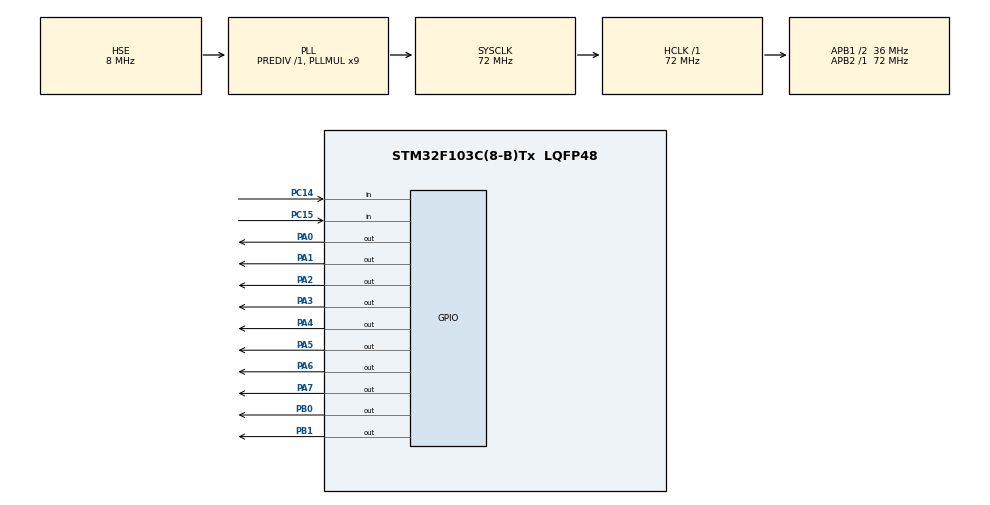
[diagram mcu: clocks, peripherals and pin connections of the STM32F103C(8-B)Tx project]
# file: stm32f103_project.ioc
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Mcu.Family=STM32F1
Mcu.Name=STM32F103C(8-B)Tx
Mcu.Package=LQFP48
NVIC.PriorityGroup=NVIC_PRIORITYGROUP_4
NVIC.TIM2_IRQn=true\:0\:0\:false\:false\:true\:true
PA0-WKUP.Signal=GPIO_Output
PA1.Signal=GPIO_Output
PA13.Mode=Serial_Wire
PA13.Signal=SYS_JTMS-SWDIO
PA14.Mode=Serial_Wire
PA14.Signal=SYS_JTCK-SWCLK
PA2.Signal=GPIO_Output
PA3.Signal=GPIO_Output
PA4.Signal=GPIO_Output
PA5.Signal=GPIO_Output
PA6.Signal=GPIO_Output
PA7.Signal=GPIO_Output
PB0.Signal=GPIO_Output
PB1.Signal=GPIO_Output
PC14-OSC32_IN.GPIO_PuPd=GPIO_PULLUP
PC14-OSC32_IN.Signal=GPIO_Input
PC15-OSC32_OUT.GPIO_PuPd=GPIO_PULLUP
PC15-OSC32_OUT.Signal=GPIO_Input
PD0-OSC_IN.Mode=HSE-External-Oscillator
PD0-OSC_IN.Signal=RCC_OSC_IN
PD1-OSC_OUT.Mode=HSE-External-Oscillator
PD1-OSC_OUT.Signal=RCC_OSC_OUT
ProjectManager.HeapSize=0x200
ProjectManager.StackSize=0x400
ProjectManager.TargetToolchain=MDK-ARM V5
RCC.AHBFreq_Value=72000000
RCC.APB1CLKDivider=RCC_HCLK_DIV2
RCC.APB1Freq_Value=36000000
RCC.APB1TimFreq_Value=72000000
RCC.APB2Freq_Value=72000000
RCC.APB2TimFreq_Value=72000000
RCC.HCLKFreq_Value=72000000
RCC.PLLMUL=RCC_PLL_MUL9
RCC.PLLSourceVirtual=RCC_PLLSOURCE_HSE
RCC.SYSCLKFreq_VALUE=72000000
RCC.SYSCLKSource=RCC_SYSCLKSOURCE_PLLCLK
RCC.USBFreq_Value=48000000
RCC.USBPrescaler=RCC_USBCLKSOURCE_PLL_DIV1_5
TIM2.AutoReloadPreload=TIM_AUTORELOAD_PRELOAD_ENABLE
TIM2.Channel-Output\ Compare1\ No\ Output=TIM_CHANNEL_1
TIM2.Period=1999
TIM2.Prescaler=179
TIM2.Pulse-Output\ Compare1\ No\ Output=999
VP_TIM2_VS_ClockSourceINT.Mode=Internal
VP_TIM2_VS_no_output1.Mode=Output Compare1 No Output
board=stm32f103_project

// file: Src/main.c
/**
  ******************************************************************************
  * File Name          : main.c
  * Description        : Main program body
  ******************************************************************************
  ** This notice applies to any and all portions of this file
  * that are not between comment pairs USER CODE BEGIN and
  * USER CODE END. Other portions of this file, whether
  * inserted by the user or by software development tools
  * are owned by their respective copyright owners.
  *
  * COPYRIGHT(c) 2018 STMicroelectronics
  *
  * Redistribution and use in source and binary forms, with or without modification,
  * are permitted provided that the following conditions are met:
  *   1. Redistributions of source code must retain the above copyright notice,
  *      this list of conditions and the following disclaimer.
  *   2. Redistributions in binary form must reproduce the above copyright notice,
  *      this list of conditions and the following disclaimer in the documentation
  *      and/or other materials provided with the distribution.
  *   3. Neither the name of STMicroelectronics nor the names of its contributors
  *      may be used to endorse or promote products derived from this software
  *      without specific prior written permission.
  *
  * THIS SOFTWARE IS PROVIDED BY THE COPYRIGHT HOLDERS AND CONTRIBUTORS "AS IS"
  * AND ANY EXPRESS OR IMPLIED WARRANTIES, INCLUDING, BUT NOT LIMITED TO, THE
  * IMPLIED WARRANTIES OF MERCHANTABILITY AND FITNESS FOR A PARTICULAR PURPOSE ARE
  * DISCLAIMED. IN NO EVENT SHALL THE COPYRIGHT HOLDER OR CONTRIBUTORS BE LIABLE
  * FOR ANY DIRECT, INDIRECT, INCIDENTAL, SPECIAL, EXEMPLARY, OR CONSEQUENTIAL
  * DAMAGES (INCLUDING, BUT NOT LIMITED TO, PROCUREMENT OF SUBSTITUTE GOODS OR
  * SERVICES; LOSS OF USE, DATA, OR PROFITS; OR BUSINESS INTERRUPTION) HOWEVER
  * CAUSED AND ON ANY THEORY OF LIABILITY, WHETHER IN CONTRACT, STRICT LIABILITY,
  * OR TORT (INCLUDING NEGLIGENCE OR OTHERWISE) ARISING IN ANY WAY OUT OF THE USE
  * OF THIS SOFTWARE, EVEN IF ADVISED OF THE POSSIBILITY OF SUCH DAMAGE.
  *
  ******************************************************************************
  */
#include "main.h"
#include "stm32f1xx_hal.h"

TIM_HandleTypeDef htim2;

/* USER CODE BEGIN PV */
/* Private variables ---------------------------------------------------------*/
uint8_t button_pressed = 0;
uint8_t button_0_scan_count = 0;

/* USER CODE END PV */

void SystemClock_Config(void);
static void MX_GPIO_Init(void);
static void MX_TIM2_Init(void);

/* USER CODE BEGIN PFP */
/* Private function prototypes -----------------------------------------------*/

/* USER CODE END PFP */

/* USER CODE BEGIN 0 */
void HAL_TIM_PeriodElapsedCallback(TIM_HandleTypeDef *htim) {
	 if (HAL_GPIO_ReadPin(GPIOC, GPIO_PIN_14) == GPIO_PIN_RESET) {
	    if (HAL_GPIO_ReadPin(GPIOB, GPIO_PIN_1) == GPIO_PIN_RESET) button_pressed = 4;
			if (HAL_GPIO_ReadPin(GPIOB, GPIO_PIN_0) == GPIO_PIN_RESET) button_pressed = 2;
			button_0_scan_count = 0;
 	 }
	 else if (HAL_GPIO_ReadPin(GPIOC, GPIO_PIN_15) == GPIO_PIN_RESET) {
		  if (HAL_GPIO_ReadPin(GPIOB, GPIO_PIN_1) == GPIO_PIN_RESET) button_pressed = 3;
			if (HAL_GPIO_ReadPin(GPIOB, GPIO_PIN_0) == GPIO_PIN_RESET) button_pressed = 1;
			button_0_scan_count = 0;
	 }
	 else {
		  button_0_scan_count++;
		  if (button_0_scan_count > 5) {
			   button_pressed = 0;
				 button_0_scan_count = 5;
			}
	 }
}

void HAL_TIM_OC_DelayElapsedCallback(TIM_HandleTypeDef *htim) {
	 HAL_GPIO_TogglePin(GPIOB, GPIO_PIN_0);
	 HAL_GPIO_TogglePin(GPIOB, GPIO_PIN_1);
}

/* USER CODE END 0 */

int main(void)
{

  /* MCU Configuration----------------------------------------------------------*/

  /* Reset of all peripherals, Initializes the Flash interface and the Systick. */
  HAL_Init();

  /* Configure the system clock */
  SystemClock_Config();

  /* Initialize all configured peripherals */
  MX_GPIO_Init();
  MX_TIM2_Init();

  /* USER CODE BEGIN 2 */
	uint8_t i = 0;
	HAL_GPIO_WritePin(GPIOB, GPIO_PIN_0, GPIO_PIN_RESET);
	HAL_GPIO_WritePin(GPIOB, GPIO_PIN_1, GPIO_PIN_SET);
	HAL_TIM_Base_Start_IT(&htim2);
	HAL_TIM_OC_Start_IT(&htim2, TIM_CHANNEL_1);
  /* USER CODE END 2 */

  /* Infinite loop */
  /* USER CODE BEGIN WHILE */

	while (1)
	{
		// Lab#1: Parallel output, matrix keyboard
		GPIOA->BRR = 0xff;
		switch (button_pressed) {
			case 0: GPIOA->ODR |= i;
							break;
			case 1: GPIOA->ODR |= (1 << (i % 8));
							break;
			case 2: GPIOA->ODR |= ~(1 << (i % 8));
							break;
			case 3: GPIOA->ODR |= (0xff << (i % 8));
							break;
			case 4: GPIOA->ODR |= ~(0xff << (i % 8));
							break;
		}
		i++;
		HAL_Delay(100);
  /* USER CODE END WHILE */

  }

}

/** System Clock Configuration
*/
void SystemClock_Config(void)
{

  RCC_OscInitTypeDef RCC_OscInitStruct;
  RCC_ClkInitTypeDef RCC_ClkInitStruct;

    /**Initializes the CPU, AHB and APB busses clocks
    */
  RCC_OscInitStruct.OscillatorType = RCC_OSCILLATORTYPE_HSE;
  RCC_OscInitStruct.HSEState = RCC_HSE_ON;
  RCC_OscInitStruct.HSEPredivValue = RCC_HSE_PREDIV_DIV1;
  RCC_OscInitStruct.HSIState = RCC_HSI_ON;
  RCC_OscInitStruct.PLL.PLLState = RCC_PLL_ON;
  RCC_OscInitStruct.PLL.PLLSource = RCC_PLLSOURCE_HSE;
  RCC_OscInitStruct.PLL.PLLMUL = RCC_PLL_MUL9;
  if (HAL_RCC_OscConfig(&RCC_OscInitStruct) != HAL_OK)
  {
    _Error_Handler(__FILE__, __LINE__);
  }

    /**Initializes the CPU, AHB and APB busses clocks
    */
  RCC_ClkInitStruct.ClockType = RCC_CLOCKTYPE_HCLK|RCC_CLOCKTYPE_SYSCLK
                              |RCC_CLOCKTYPE_PCLK1|RCC_CLOCKTYPE_PCLK2;
  RCC_ClkInitStruct.SYSCLKSource = RCC_SYSCLKSOURCE_PLLCLK;
  RCC_ClkInitStruct.AHBCLKDivider = RCC_SYSCLK_DIV1;
  RCC_ClkInitStruct.APB1CLKDivider = RCC_HCLK_DIV2;
  RCC_ClkInitStruct.APB2CLKDivider = RCC_HCLK_DIV1;

  if (HAL_RCC_ClockConfig(&RCC_ClkInitStruct, FLASH_LATENCY_2) != HAL_OK)
  {
    _Error_Handler(__FILE__, __LINE__);
  }

    /**Configure the Systick interrupt time
    */
  HAL_SYSTICK_Config(HAL_RCC_GetHCLKFreq()/1000);

    /**Configure the Systick
    */
  HAL_SYSTICK_CLKSourceConfig(SYSTICK_CLKSOURCE_HCLK);

  /* SysTick_IRQn interrupt configuration */
  HAL_NVIC_SetPriority(SysTick_IRQn, 0, 0);
}

/* TIM2 init function */
static void MX_TIM2_Init(void)
{

  TIM_ClockConfigTypeDef sClockSourceConfig;
  TIM_MasterConfigTypeDef sMasterConfig;
  TIM_OC_InitTypeDef sConfigOC;

  htim2.Instance = TIM2;
  htim2.Init.Prescaler = 179;
  htim2.Init.CounterMode = TIM_COUNTERMODE_UP;
  htim2.Init.Period = 1999;
  htim2.Init.ClockDivision = TIM_CLOCKDIVISION_DIV1;
  htim2.Init.AutoReloadPreload = TIM_AUTORELOAD_PRELOAD_ENABLE;
  if (HAL_TIM_Base_Init(&htim2) != HAL_OK)
  {
    _Error_Handler(__FILE__, __LINE__);
  }

  sClockSourceConfig.ClockSource = TIM_CLOCKSOURCE_INTERNAL;
  if (HAL_TIM_ConfigClockSource(&htim2, &sClockSourceConfig) != HAL_OK)
  {
    _Error_Handler(__FILE__, __LINE__);
  }

  if (HAL_TIM_OC_Init(&htim2) != HAL_OK)
  {
    _Error_Handler(__FILE__, __LINE__);
  }

  sMasterConfig.MasterOutputTrigger = TIM_TRGO_RESET;
  sMasterConfig.MasterSlaveMode = TIM_MASTERSLAVEMODE_DISABLE;
  if (HAL_TIMEx_MasterConfigSynchronization(&htim2, &sMasterConfig) != HAL_OK)
  {
    _Error_Handler(__FILE__, __LINE__);
  }

  sConfigOC.OCMode = TIM_OCMODE_TIMING;
  sConfigOC.Pulse = 999;
  sConfigOC.OCPolarity = TIM_OCPOLARITY_HIGH;
  sConfigOC.OCFastMode = TIM_OCFAST_DISABLE;
  if (HAL_TIM_OC_ConfigChannel(&htim2, &sConfigOC, TIM_CHANNEL_1) != HAL_OK)
  {
    _Error_Handler(__FILE__, __LINE__);
  }

}

/** Configure pins as
        * Analog
        * Input
        * Output
        * EVENT_OUT
        * EXTI
*/
static void MX_GPIO_Init(void)
{

  GPIO_InitTypeDef GPIO_InitStruct;

  /* GPIO Ports Clock Enable */
  __HAL_RCC_GPIOC_CLK_ENABLE();
  __HAL_RCC_GPIOD_CLK_ENABLE();
  __HAL_RCC_GPIOA_CLK_ENABLE();
  __HAL_RCC_GPIOB_CLK_ENABLE();

  /*Configure GPIO pin Output Level */
  HAL_GPIO_WritePin(GPIOA, GPIO_PIN_0|GPIO_PIN_1|GPIO_PIN_2|GPIO_PIN_3
                          |GPIO_PIN_4|GPIO_PIN_5|GPIO_PIN_6|GPIO_PIN_7, GPIO_PIN_RESET);

  /*Configure GPIO pin Output Level */
  HAL_GPIO_WritePin(GPIOB, GPIO_PIN_0|GPIO_PIN_1, GPIO_PIN_RESET);

  /*Configure GPIO pins : PC14 PC15 */
  GPIO_InitStruct.Pin = GPIO_PIN_14|GPIO_PIN_15;
  GPIO_InitStruct.Mode = GPIO_MODE_INPUT;
  GPIO_InitStruct.Pull = GPIO_PULLUP;
  HAL_GPIO_Init(GPIOC, &GPIO_InitStruct);

  /*Configure GPIO pins : PA0 PA1 PA2 PA3
                           PA4 PA5 PA6 PA7 */
  GPIO_InitStruct.Pin = GPIO_PIN_0|GPIO_PIN_1|GPIO_PIN_2|GPIO_PIN_3
                          |GPIO_PIN_4|GPIO_PIN_5|GPIO_PIN_6|GPIO_PIN_7;
  GPIO_InitStruct.Mode = GPIO_MODE_OUTPUT_PP;
  GPIO_InitStruct.Speed = GPIO_SPEED_FREQ_LOW;
  HAL_GPIO_Init(GPIOA, &GPIO_InitStruct);

  /*Configure GPIO pins : PB0 PB1 */
  GPIO_InitStruct.Pin = GPIO_PIN_0|GPIO_PIN_1;
  GPIO_InitStruct.Mode = GPIO_MODE_OUTPUT_PP;
  GPIO_InitStruct.Speed = GPIO_SPEED_FREQ_LOW;
  HAL_GPIO_Init(GPIOB, &GPIO_InitStruct);

}

void _Error_Handler(char * file, int line)
{
  while(1)
  {
  }
}

/************************ (C) COPYRIGHT STMicroelectronics *****END OF FILE****/
